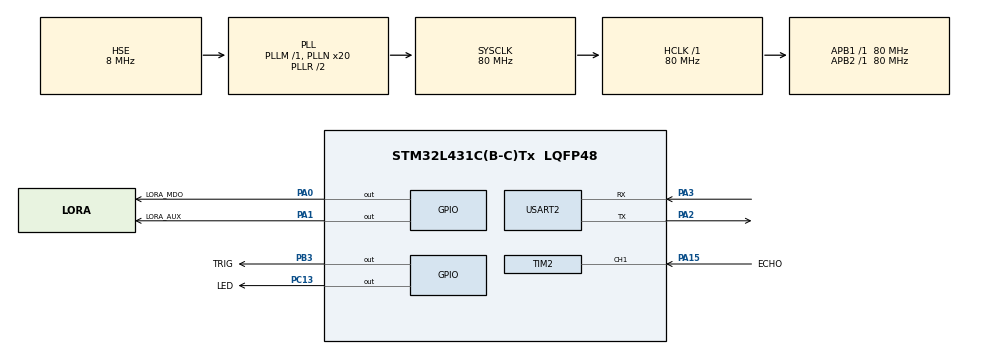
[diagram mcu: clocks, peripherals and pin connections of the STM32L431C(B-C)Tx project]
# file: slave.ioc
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Dma.Request0=USART2_TX
Dma.Request1=USART2_RX
Dma.USART2_RX.1.Direction=DMA_PERIPH_TO_MEMORY
Dma.USART2_RX.1.Instance=DMA1_Channel6
Dma.USART2_RX.1.MemDataAlignment=DMA_MDATAALIGN_BYTE
Dma.USART2_RX.1.MemInc=DMA_MINC_ENABLE
Dma.USART2_RX.1.Mode=DMA_NORMAL
Dma.USART2_RX.1.PeriphDataAlignment=DMA_PDATAALIGN_BYTE
Dma.USART2_RX.1.PeriphInc=DMA_PINC_DISABLE
Dma.USART2_RX.1.Priority=DMA_PRIORITY_LOW
Dma.USART2_TX.0.Direction=DMA_MEMORY_TO_PERIPH
Dma.USART2_TX.0.Instance=DMA1_Channel7
Dma.USART2_TX.0.MemDataAlignment=DMA_MDATAALIGN_BYTE
Dma.USART2_TX.0.MemInc=DMA_MINC_ENABLE
Dma.USART2_TX.0.Mode=DMA_NORMAL
Dma.USART2_TX.0.PeriphDataAlignment=DMA_PDATAALIGN_BYTE
Dma.USART2_TX.0.PeriphInc=DMA_PINC_DISABLE
Dma.USART2_TX.0.Priority=DMA_PRIORITY_LOW
Mcu.Family=STM32L4
Mcu.Name=STM32L431C(B-C)Tx
Mcu.Package=LQFP48
NVIC.DMA1_Channel6_IRQn=true\:0\:0\:false\:false\:true\:false\:true
NVIC.DMA1_Channel7_IRQn=true\:0\:0\:false\:false\:true\:false\:true
NVIC.PriorityGroup=NVIC_PRIORITYGROUP_4
NVIC.TIM2_IRQn=true\:0\:0\:false\:false\:true\:true\:true
NVIC.USART2_IRQn=true\:0\:0\:false\:false\:true\:true\:true
PA0.GPIO_Label=LORA_MDO
PA0.Signal=GPIO_Output
PA1.GPIO_Label=LORA_AUX
PA1.Signal=GPIO_Output
PA15\ (JTDI).GPIO_Label=ECHO
PA15\ (JTDI).Signal=S_TIM2_CH1
PA2.Mode=Asynchronous
PA2.Signal=USART2_TX
PA3.Mode=Asynchronous
PA3.Signal=USART2_RX
PB3\ (JTDO-TRACESWO).GPIO_Label=TRIG
PB3\ (JTDO-TRACESWO).Signal=GPIO_Output
PC13.GPIO_Label=LED
PC13.Signal=GPIO_Output
PC14-OSC32_IN\ (PC14).Mode=LSE-External-Oscillator
PC14-OSC32_IN\ (PC14).Signal=RCC_OSC32_IN
PC15-OSC32_OUT\ (PC15).Mode=LSE-External-Oscillator
PC15-OSC32_OUT\ (PC15).Signal=RCC_OSC32_OUT
PH0-OSC_IN\ (PH0).Mode=HSE-External-Oscillator
PH0-OSC_IN\ (PH0).Signal=RCC_OSC_IN
PH1-OSC_OUT\ (PH1).Mode=HSE-External-Oscillator
PH1-OSC_OUT\ (PH1).Signal=RCC_OSC_OUT
ProjectManager.HeapSize=0x200
ProjectManager.StackSize=0x400
ProjectManager.TargetToolchain=MDK-ARM V5
RCC.ADCFreq_Value=32000000
RCC.AHBFreq_Value=80000000
RCC.APB1Freq_Value=80000000
RCC.APB1TimFreq_Value=80000000
RCC.APB2Freq_Value=80000000
RCC.APB2TimFreq_Value=80000000
RCC.CortexFreq_Value=80000000
RCC.HCLKFreq_Value=80000000
RCC.HSE_VALUE=8000000
RCC.HSI48_VALUE=48000000
RCC.HSI_VALUE=16000000
RCC.MSI_VALUE=4000000
RCC.PLLN=20
RCC.PLLSourceVirtual=RCC_PLLSOURCE_HSE
RCC.SYSCLKFreq_VALUE=80000000
RCC.SYSCLKSource=RCC_SYSCLKSOURCE_PLLCLK
RCC.VCOOutputFreq_Value=160000000
SH.S_TIM2_CH1.0=TIM2_CH1,Input_Capture1_from_TI1
TIM2.Channel-Input_Capture1_from_TI1=TIM_CHANNEL_1
TIM2.ICFilter_CH1=8
TIM2.Period=0xFFFF
TIM2.Prescaler=80-1
USART2.VirtualMode-Asynchronous=VM_ASYNC
VP_TIM2_VS_ClockSourceINT.Mode=Internal
board=custom

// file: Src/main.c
/* USER CODE BEGIN Header */
/**
  ******************************************************************************
  * @file           : main.c
  * @brief          : Main program body
  ******************************************************************************
  * @attention
  *
  * <h2><center>&copy; Copyright (c) 2020 STMicroelectronics.
  * All rights reserved.</center></h2>
  *
  * This software component is licensed by ST under BSD 3-Clause license,
  * the "License"; You may not use this file except in compliance with the
  * License. You may obtain a copy of the License at:
  *                        opensource.org/licenses/BSD-3-Clause
  *
  ******************************************************************************
  */
/* USER CODE END Header */

#include "main.h"
#include "dma.h"
#include "tim.h"
#include "usart.h"
#include "gpio.h"

/* USER CODE BEGIN Includes */
#include "stdio.h"
#include "lora.h"
/* USER CODE END Includes */

/* USER CODE BEGIN PM */
/* Private variables ---------------------------------------------------------*/
uint16_t 	Channel1HighTime;
uint8_t  	Channel1Edge = 0;
uint16_t 	Channel1Percent;
uint16_t	Channel1PercentTemp[3] = {0, 0, 0};
uint8_t 	Channel1TempCount = 0;
uint16_t 	Channel1RisingTimeLast=0, Channel1RisingTimeNow, Channel1FallingTime;
/* USER CODE END PV */

/* USER CODE END PM */

void SystemClock_Config(void);
/* USER CODE BEGIN PFP */
int Get_free_space(int times);
/* USER CODE END PFP */

int main(void)
{
  /* USER CODE BEGIN 1 */
	int distance,temp;
	uint8_t needAck[50];
  /* USER CODE END 1 */

  /* MCU Configuration--------------------------------------------------------*/

  /* Reset of all peripherals, Initializes the Flash interface and the Systick. */
  HAL_Init();

  /* Configure the system clock */
  SystemClock_Config();

  /* Initialize all configured peripherals */
  MX_GPIO_Init();
  MX_DMA_Init();
  MX_TIM2_Init();
  MX_USART2_UART_Init();
  /* USER CODE BEGIN 2 */
	HAL_TIM_IC_Start_IT(&htim2,TIM_CHANNEL_1);
//	Lora_Init();

	sprintf((char*)needAck,"device:%d",Slave_Code);
  /* USER CODE END 2 */

  /* Infinite loop */
  while (1)
  {

    /* USER CODE BEGIN 3 */
		//distance = Get_free_space(Capture_Times);
		//printf("distance:%d\r\n",distance);
		//lora_send_cmd("hello",needAck,50);
		printf("hello\r\n");
		HAL_Delay(500);
		if(lora_check_cmd(needAck))	HAL_GPIO_TogglePin(LED_GPIO_Port,LED_Pin);

	}
  /* USER CODE END 3 */
}

void SystemClock_Config(void)
{
  RCC_OscInitTypeDef RCC_OscInitStruct = {0};
  RCC_ClkInitTypeDef RCC_ClkInitStruct = {0};
  RCC_PeriphCLKInitTypeDef PeriphClkInit = {0};

  /** Initializes the CPU, AHB and APB busses clocks
  */
  RCC_OscInitStruct.OscillatorType = RCC_OSCILLATORTYPE_HSE;
  RCC_OscInitStruct.HSEState = RCC_HSE_ON;
  RCC_OscInitStruct.PLL.PLLState = RCC_PLL_ON;
  RCC_OscInitStruct.PLL.PLLSource = RCC_PLLSOURCE_HSE;
  RCC_OscInitStruct.PLL.PLLM = 1;
  RCC_OscInitStruct.PLL.PLLN = 20;
  RCC_OscInitStruct.PLL.PLLP = RCC_PLLP_DIV7;
  RCC_OscInitStruct.PLL.PLLQ = RCC_PLLQ_DIV2;
  RCC_OscInitStruct.PLL.PLLR = RCC_PLLR_DIV2;
  if (HAL_RCC_OscConfig(&RCC_OscInitStruct) != HAL_OK)
  {
    Error_Handler();
  }
  /** Initializes the CPU, AHB and APB busses clocks
  */
  RCC_ClkInitStruct.ClockType = RCC_CLOCKTYPE_HCLK|RCC_CLOCKTYPE_SYSCLK
                              |RCC_CLOCKTYPE_PCLK1|RCC_CLOCKTYPE_PCLK2;
  RCC_ClkInitStruct.SYSCLKSource = RCC_SYSCLKSOURCE_PLLCLK;
  RCC_ClkInitStruct.AHBCLKDivider = RCC_SYSCLK_DIV1;
  RCC_ClkInitStruct.APB1CLKDivider = RCC_HCLK_DIV1;
  RCC_ClkInitStruct.APB2CLKDivider = RCC_HCLK_DIV1;

  if (HAL_RCC_ClockConfig(&RCC_ClkInitStruct, FLASH_LATENCY_4) != HAL_OK)
  {
    Error_Handler();
  }
  PeriphClkInit.PeriphClockSelection = RCC_PERIPHCLK_USART2;
  PeriphClkInit.Usart2ClockSelection = RCC_USART2CLKSOURCE_PCLK1;
  if (HAL_RCCEx_PeriphCLKConfig(&PeriphClkInit) != HAL_OK)
  {
    Error_Handler();
  }
  /** Configure the main internal regulator output voltage
  */
  if (HAL_PWREx_ControlVoltageScaling(PWR_REGULATOR_VOLTAGE_SCALE1) != HAL_OK)
  {
    Error_Handler();
  }
}

/* USER CODE BEGIN 4 */

int Get_free_space(int times)
{
	int i;
	float distance = 0;
	for(i = 0; i < times; i++)
	{
		HAL_GPIO_WritePin(TRIG_GPIO_Port,TRIG_Pin,GPIO_PIN_SET);
		HAL_Delay(1);
		HAL_GPIO_WritePin(TRIG_GPIO_Port,TRIG_Pin,GPIO_PIN_RESET);
		HAL_Delay(200);
		distance += Channel1HighTime*0.017;
	}
	return (distance/(float)times);
}
void HAL_TIM_IC_CaptureCallback(TIM_HandleTypeDef *htim)
{
  /* Prevent unused argument(s) compilation warning */
  UNUSED(htim);
  /* NOTE : This function Should not be modified, when the callback is needed,
            the __HAL_TIM_IC_CaptureCallback could be implemented in the user file
   */
	if(htim->Channel == HAL_TIM_ACTIVE_CHANNEL_1)
	{
		if(Channel1Edge == 0)
		{
			Channel1RisingTimeNow = HAL_TIM_ReadCapturedValue(&htim2, TIM_CHANNEL_1);//��ȡ������ʱ���
			__HAL_TIM_SET_CAPTUREPOLARITY(&htim2, TIM_CHANNEL_1, TIM_INPUTCHANNELPOLARITY_FALLING);//�л�������
			HAL_TIM_IC_Start_IT(&htim2, TIM_CHANNEL_1);
			Channel1Edge = 1;
			Channel1RisingTimeLast = Channel1RisingTimeNow;
		}
		else if(Channel1Edge == 1)
		{
			Channel1FallingTime = HAL_TIM_ReadCapturedValue(&htim2, TIM_CHANNEL_1);
			__HAL_TIM_SET_CAPTUREPOLARITY(&htim2, TIM_CHANNEL_1, TIM_INPUTCHANNELPOLARITY_RISING);
			HAL_TIM_IC_Start_IT(&htim2, TIM_CHANNEL_1);

			if(Channel1FallingTime < Channel1RisingTimeNow)
			{
				Channel1HighTime = Channel1FallingTime + 0xffff - Channel1RisingTimeNow + 1;
			}
			else
			{
				Channel1HighTime = Channel1FallingTime - Channel1RisingTimeNow;
			}
//			printf("timer data:%f\r\n",(float)Channel1HighTime*0.017);
			Channel1Edge = 0;
		}
	}
}

/* USER CODE END 4 */

void Error_Handler(void)
{
}

/************************ (C) COPYRIGHT STMicroelectronics *****END OF FILE****/
